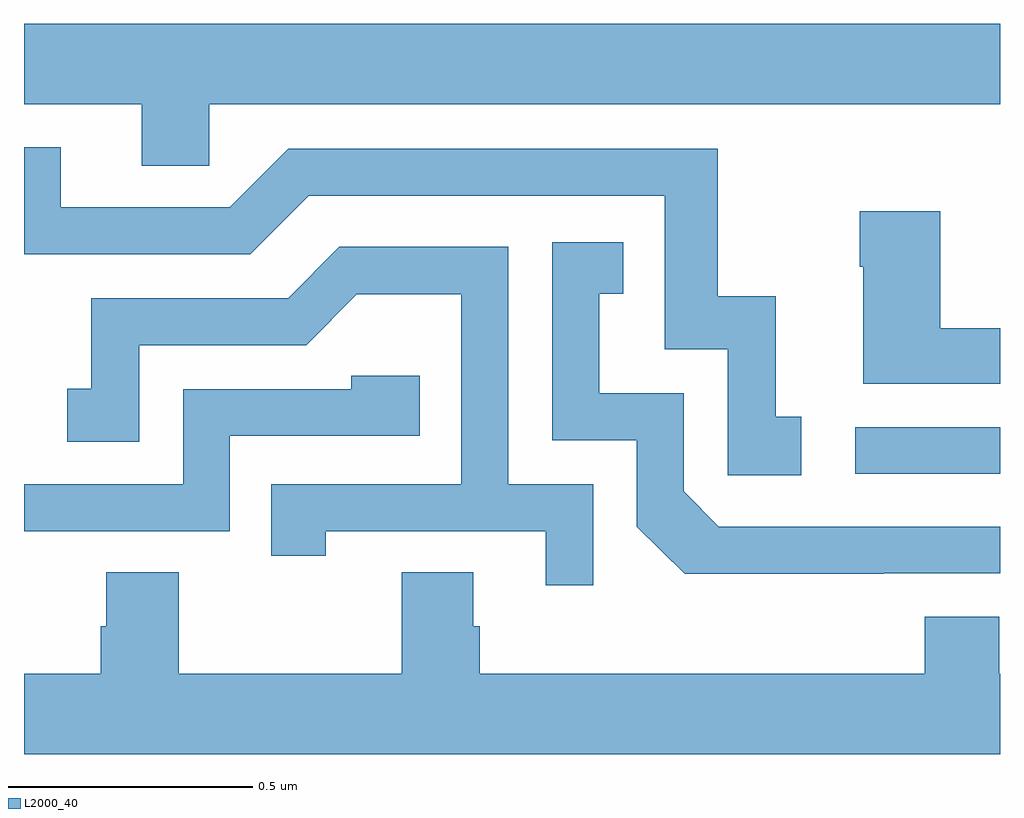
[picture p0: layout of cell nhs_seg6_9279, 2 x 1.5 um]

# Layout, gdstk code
import gdstk
lib = gdstk.Library(unit=1e-6, precision=1e-09)
def R(c, l, rs):  # rectangles x0, y0, x1, y1
    for r in rs: c.add(gdstk.rectangle(r[:2], r[2:], *l))
def P(c, l, *ps):  # polygons
    for p in ps: c.add(gdstk.Polygon(p, *l))
L2000_40 = (2000, 40)

nhs_seg6_9279 = lib.new_cell('nhs_seg6_9279')
R(nhs_seg6_9279, L2000_40, [(233.703,925.266,234,925.362)])
P(nhs_seg6_9279, L2000_40, [(232,926.024),(232.241,926.024),(232.241,925.897),(232.38,925.897),(232.38,926.024),(234,926.024),(234,926.188),(232,926.188)],
  [(233.593,925.383),(233.54,925.383),(233.54,925.63),(233.422,925.63),(233.422,925.932),(232.542,925.932),(232.422,925.812),(232.075,925.812),(232.075,925.935),(232,925.935),(232,925.716),(232.464,925.716),(232.584,925.836),(233.313,925.836),(233.313,925.521),(233.442,925.521),(233.442,925.263),(233.593,925.263)],
  [(234,925.565),(233.878,925.565),(233.878,925.804),(233.713,925.804),(233.713,925.691),(233.72,925.691),(233.72,925.451),(234,925.451)],
  [(233.762,925.062),(234,925.062),(234,925.158),(233.424,925.158),(233.352,925.23),(233.352,925.431),(233.179,925.431),(233.179,925.635),(233.228,925.635),(233.228,925.741),(233.082,925.741),(233.082,925.335),(233.256,925.335),(233.256,925.158),(233.354,925.061),(233.762,925.061)],
  [(233.166,925.245),(232.992,925.245),(232.992,925.731),(232.646,925.731),(232.541,925.626),(232.138,925.626),(232.138,925.441),(232.089,925.441),(232.089,925.332),(232.236,925.332),(232.236,925.53),(232.578,925.53),(232.682,925.634),(232.896,925.634),(232.896,925.245),(232.507,925.245),(232.507,925.098),(232.618,925.098),(232.618,925.149),(233.069,925.149),(233.069,925.038),(233.166,925.038)],
  [(232.422,925.344),(232.811,925.344),(232.811,925.467),(232.671,925.467),(232.671,925.44),(232.326,925.44),(232.326,925.245),(232,925.245),(232,925.149),(232.422,925.149)],
  [(234,924.856),(233.998,924.856),(233.998,924.973),(233.846,924.973),(233.846,924.856),(232.934,924.856),(232.934,924.954),(232.921,924.954),(232.921,925.064),(232.774,925.064),(232.774,924.856),(232.317,924.856),(232.317,925.064),(232.169,925.064),(232.169,924.954),(232.157,924.954),(232.157,924.856),(232,924.856),(232,924.692),(234,924.692)])

lib.write_gds('nhs_seg6_9279.gds')
